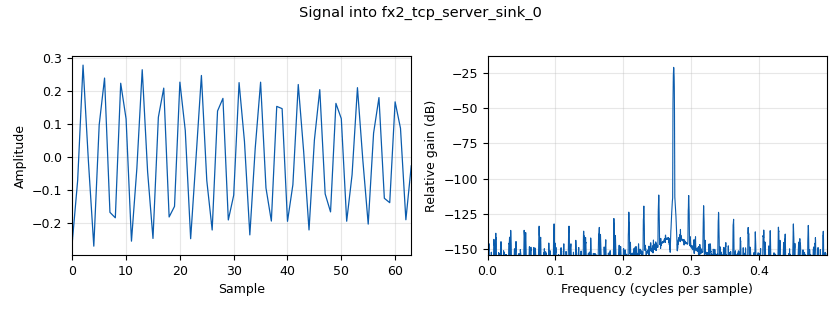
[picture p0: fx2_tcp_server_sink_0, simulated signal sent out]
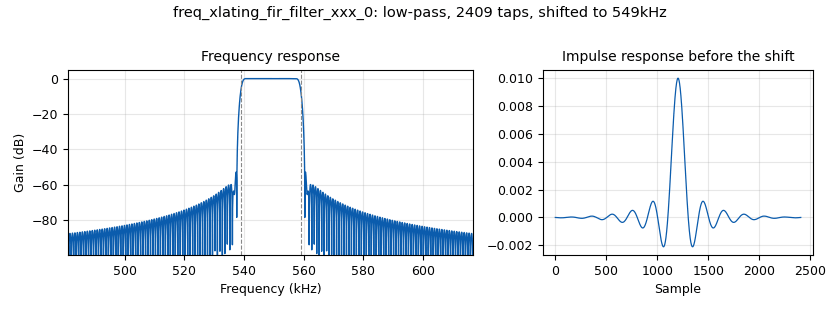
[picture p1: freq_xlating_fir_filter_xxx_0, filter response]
<?xml version='1.0' encoding='utf-8'?>
<?grc format='1' created='3.7.13'?>
<flow_graph>
<block>
<key>options</key>
<param><key>id</key><value>top_block</value></param>
<param><key>generate_options</key><value>qt_gui</value></param>
</block>
<block>
<key>variable</key>
<param><key>id</key><value>decimation</value></param>
<param><key>value</key><value>100</value></param>
</block>
<block>
<key>variable_qtgui_range</key>
<param><key>id</key><value>freq</value></param>
<param><key>value</key><value>549e3</value></param>
<param><key>label</key><value>Freq</value></param>
<param><key>orient</key><value>Qt.Horizontal</value></param>
<param><key>start</key><value>0</value></param>
<param><key>step</key><value>9e3</value></param>
<param><key>stop</key><value>samp_rate / 2</value></param>
</block>
<block>
<key>variable</key>
<param><key>id</key><value>samp_rate</value></param>
<param><key>value</key><value>2000000</value></param>
</block>
<block>
<key>variable_qtgui_range</key>
<param><key>id</key><value>signalFreq</value></param>
<param><key>value</key><value>1000</value></param>
<param><key>label</key><value>Signal Freq</value></param>
<param><key>orient</key><value>Qt.Horizontal</value></param>
<param><key>start</key><value>0</value></param>
<param><key>step</key><value>1e3</value></param>
<param><key>stop</key><value>15e3</value></param>
</block>
<block>
<key>variable</key>
<param><key>id</key><value>transition_bw</value></param>
<param><key>value</key><value>samp_rate / decimation / 10</value></param>
</block>
<block>
<key>analog_am_demod_cf</key>
<param><key>id</key><value>analog_am_demod_cf_0</value></param>
<param><key>audio_decim</key><value>1</value></param>
<param><key>audio_pass</key><value>6000</value></param>
<param><key>audio_stop</key><value>7000</value></param>
<param><key>chan_rate</key><value>32e3</value></param>
</block>
<block>
<key>analog_const_source_x</key>
<param><key>id</key><value>analog_const_source_x_0</value></param>
<param><key>const</key><value>0</value></param>
<param><key>type</key><value>float</value></param>
</block>
<block>
<key>analog_sig_source_x</key>
<param><key>id</key><value>analog_sig_source_x_0</value></param>
<param><key>amp</key><value>1</value></param>
<param><key>freq</key><value>freq</value></param>
<param><key>offset</key><value>0</value></param>
<param><key>type</key><value>complex</value></param>
<param><key>samp_rate</key><value>samp_rate</value></param>
<param><key>waveform</key><value>analog.GR_COS_WAVE</value></param>
</block>
<block>
<key>analog_sig_source_x</key>
<param><key>id</key><value>analog_sig_source_x_0_0</value></param>
<param><key>amp</key><value>1</value></param>
<param><key>freq</key><value>signalFreq</value></param>
<param><key>offset</key><value>0</value></param>
<param><key>type</key><value>float</value></param>
<param><key>samp_rate</key><value>44.1e3</value></param>
<param><key>waveform</key><value>analog.GR_COS_WAVE</value></param>
</block>
<block>
<key>audio_sink</key>
<param><key>id</key><value>audio_sink_0</value></param>
<param><key>samp_rate</key><value>32000</value></param>
</block>
<block>
<key>blocks_add_const_vxx</key>
<param><key>id</key><value>blocks_add_const_vxx_1</value></param>
<param><key>const</key><value>1</value></param>
<param><key>type</key><value>float</value></param>
</block>
<block>
<key>blocks_complex_to_real</key>
<param><key>id</key><value>blocks_complex_to_real_0</value></param>
</block>
<block>
<key>blocks_float_to_complex</key>
<param><key>id</key><value>blocks_float_to_complex_0</value></param>
</block>
<block>
<key>blocks_multiply_const_vxx</key>
<param><key>id</key><value>blocks_multiply_const_vxx_0_0</value></param>
<param><key>const</key><value>1.5</value></param>
<param><key>type</key><value>float</value></param>
</block>
<block>
<key>blocks_multiply_const_vxx</key>
<param><key>id</key><value>blocks_multiply_const_vxx_1</value></param>
<param><key>const</key><value>0.5</value></param>
<param><key>type</key><value>float</value></param>
</block>
<block>
<key>blocks_multiply_xx</key>
<param><key>id</key><value>blocks_multiply_xx_0</value></param>
<param><key>type</key><value>complex</value></param>
</block>
<block>
<key>blocks_wavfile_source</key>
<param><key>id</key><value>blocks_wavfile_source_0</value></param>
<param><key>_enabled</key><value>0</value></param>
<param><key>file</key><value>C:\Temp\01.wav</value></param>
<param><key>repeat</key><value>True</value></param>
</block>
<block>
<key>freq_xlating_fir_filter_xxx</key>
<param><key>id</key><value>freq_xlating_fir_filter_xxx_0</value></param>
<param><key>center_freq</key><value>freq</value></param>
<param><key>decim</key><value>decimation</value></param>
<param><key>samp_rate</key><value>samp_rate</value></param>
<param><key>taps</key><value>firdes.low_pass(1,samp_rate,samp_rate/(2*decimation), transition_bw)</value></param>
<param><key>type</key><value>fcf</value></param>
</block>
<block>
<key>fx2_tcp_server_sink</key>
<param><key>id</key><value>fx2_tcp_server_sink_0</value></param>
<param><key>ipaddr</key><value>'0.0.0.0'</value></param>
<param><key>port</key><value>52001</value></param>
</block>
<block>
<key>fx2_udp_source</key>
<param><key>id</key><value>fx2_udp_source_0</value></param>
<param><key>ipaddr</key><value>'127.0.0.1'</value></param>
<param><key>port</key><value>52002</value></param>
</block>
<block>
<key>qtgui_sink_x</key>
<param><key>id</key><value>qtgui_sink_x_0</value></param>
<param><key>bw</key><value>samp_rate</value></param>
<param><key>fc</key><value>0</value></param>
<param><key>freqchangevar</key><value>None</value></param>
<param><key>_enabled</key><value>0</value></param>
<param><key>fftsize</key><value>1024</value></param>
<param><key>showports</key><value>True</value></param>
<param><key>type</key><value>float</value></param>
<param><key>wintype</key><value>firdes.WIN_BLACKMAN_hARRIS</value></param>
</block>
<block>
<key>qtgui_sink_x</key>
<param><key>id</key><value>qtgui_sink_x_0_0_0</value></param>
<param><key>bw</key><value>32000</value></param>
<param><key>fc</key><value>0</value></param>
<param><key>freqchangevar</key><value>None</value></param>
<param><key>fftsize</key><value>1024</value></param>
<param><key>showports</key><value>True</value></param>
<param><key>type</key><value>float</value></param>
<param><key>wintype</key><value>firdes.WIN_BLACKMAN_hARRIS</value></param>
</block>
<block>
<key>rational_resampler_xxx</key>
<param><key>id</key><value>rational_resampler_xxx_0</value></param>
<param><key>decim</key><value>44100</value></param>
<param><key>interp</key><value>samp_rate</value></param>
<param><key>taps</key><value></value></param>
<param><key>type</key><value>ccf</value></param>
</block>
<block>
<key>rational_resampler_xxx</key>
<param><key>id</key><value>rational_resampler_xxx_0_0</value></param>
<param><key>decim</key><value>samp_rate / decimation</value></param>
<param><key>interp</key><value>32000</value></param>
<param><key>taps</key><value></value></param>
<param><key>type</key><value>ccc</value></param>
</block>
<connection><source_block_id>analog_am_demod_cf_0</source_block_id><sink_block_id>audio_sink_0</sink_block_id><source_key>0</source_key><sink_key>0</sink_key></connection>
<connection><source_block_id>analog_am_demod_cf_0</source_block_id><sink_block_id>qtgui_sink_x_0_0_0</sink_block_id><source_key>0</source_key><sink_key>0</sink_key></connection>
<connection><source_block_id>analog_const_source_x_0</source_block_id><sink_block_id>blocks_float_to_complex_0</sink_block_id><source_key>0</source_key><sink_key>1</sink_key></connection>
<connection><source_block_id>analog_sig_source_x_0</source_block_id><sink_block_id>blocks_multiply_xx_0</sink_block_id><source_key>0</source_key><sink_key>0</sink_key></connection>
<connection><source_block_id>analog_sig_source_x_0_0</source_block_id><sink_block_id>blocks_add_const_vxx_1</sink_block_id><source_key>0</source_key><sink_key>0</sink_key></connection>
<connection><source_block_id>blocks_add_const_vxx_1</source_block_id><sink_block_id>blocks_multiply_const_vxx_1</sink_block_id><source_key>0</source_key><sink_key>0</sink_key></connection>
<connection><source_block_id>blocks_complex_to_real_0</source_block_id><sink_block_id>fx2_tcp_server_sink_0</sink_block_id><source_key>0</source_key><sink_key>0</sink_key></connection>
<connection><source_block_id>blocks_complex_to_real_0</source_block_id><sink_block_id>qtgui_sink_x_0</sink_block_id><source_key>0</source_key><sink_key>0</sink_key></connection>
<connection><source_block_id>blocks_float_to_complex_0</source_block_id><sink_block_id>rational_resampler_xxx_0</sink_block_id><source_key>0</source_key><sink_key>0</sink_key></connection>
<connection><source_block_id>blocks_multiply_const_vxx_0_0</source_block_id><sink_block_id>freq_xlating_fir_filter_xxx_0</sink_block_id><source_key>0</source_key><sink_key>0</sink_key></connection>
<connection><source_block_id>blocks_multiply_const_vxx_1</source_block_id><sink_block_id>blocks_float_to_complex_0</sink_block_id><source_key>0</source_key><sink_key>0</sink_key></connection>
<connection><source_block_id>blocks_multiply_xx_0</source_block_id><sink_block_id>blocks_complex_to_real_0</sink_block_id><source_key>0</source_key><sink_key>0</sink_key></connection>
<connection><source_block_id>blocks_wavfile_source_0</source_block_id><sink_block_id>blocks_add_const_vxx_1</sink_block_id><source_key>0</source_key><sink_key>0</sink_key></connection>
<connection><source_block_id>freq_xlating_fir_filter_xxx_0</source_block_id><sink_block_id>rational_resampler_xxx_0_0</sink_block_id><source_key>0</source_key><sink_key>0</sink_key></connection>
<connection><source_block_id>fx2_udp_source_0</source_block_id><sink_block_id>blocks_multiply_const_vxx_0_0</sink_block_id><source_key>0</source_key><sink_key>0</sink_key></connection>
<connection><source_block_id>rational_resampler_xxx_0</source_block_id><sink_block_id>blocks_multiply_xx_0</sink_block_id><source_key>0</source_key><sink_key>1</sink_key></connection>
<connection><source_block_id>rational_resampler_xxx_0_0</source_block_id><sink_block_id>analog_am_demod_cf_0</sink_block_id><source_key>0</source_key><sink_key>0</sink_key></connection>
</flow_graph>
